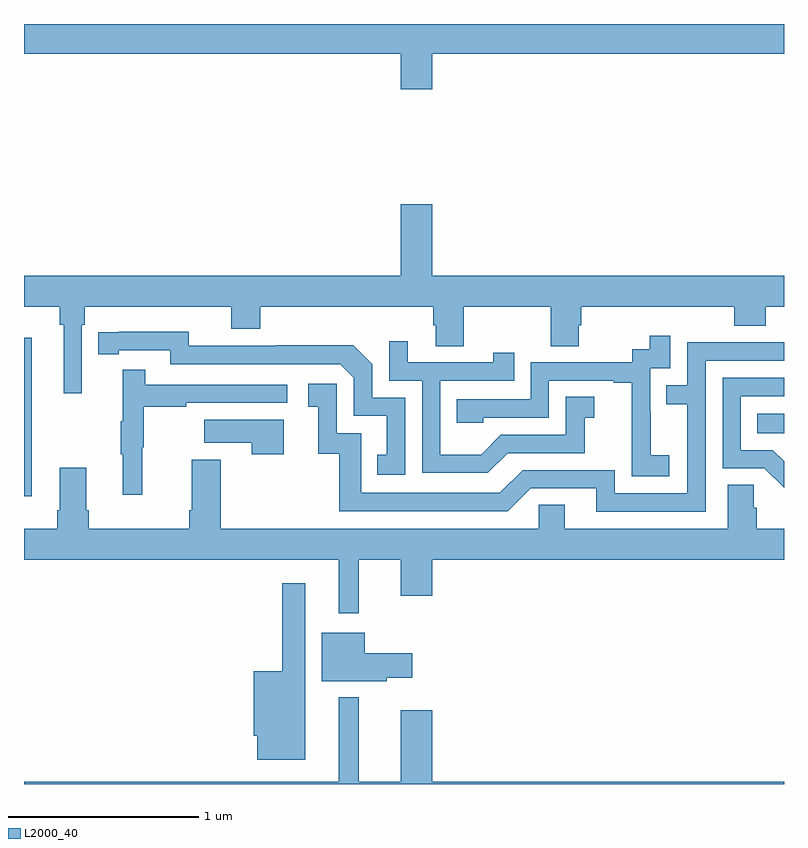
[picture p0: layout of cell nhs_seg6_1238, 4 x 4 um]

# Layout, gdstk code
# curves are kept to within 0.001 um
import gdstk
lib = gdstk.Library(unit=1e-6, precision=1e-09)
def R(c, l, rs):  # rectangles x0, y0, x1, y1
    for r in rs: c.add(gdstk.rectangle(r[:2], r[2:], *l))
def P(c, l, *ps):  # polygons
    for p in ps: c.add(gdstk.Polygon(p, *l))
L2000_40 = (2000, 40)

nhs_seg6_1238 = lib.new_cell('nhs_seg6_1238')
R(nhs_seg6_1238, L2000_40, [(187,937.014,187.042,937.849), (190.858,937.346,191,937.45)])
P(nhs_seg6_1238, L2000_40, [(189.148,939.344),(191,939.344),(191,939.5),(187,939.5),(187,939.344),(188.984,939.344),(188.984,939.156),(189.148,939.156)],
  [(187,938.012),(187.189,938.012),(187.189,937.916),(187.208,937.916),(187.208,937.557),(187.305,937.557),(187.305,937.916),(187.319,937.916),(187.319,938.012),(188.09,938.012),(188.09,937.895),(188.243,937.895),(188.243,938.012),(189.155,938.012),(189.155,937.914),(189.167,937.914),(189.167,937.804),(189.315,937.804),(189.315,938.012),(189.772,938.012),(189.772,937.804),(189.919,937.804),(189.919,937.914),(189.932,937.914),(189.932,938.012),(190.739,938.012),(190.739,937.913),(190.904,937.913),(190.904,938.012),(191,938.012),(191,938.176),(189.148,938.176),(189.148,938.551),(188.984,938.551),(188.984,938.176),(187,938.176)],
  [(189.006,937.533),(188.832,937.533),(188.832,937.71),(188.734,937.808),(188.326,937.808),(188.326,937.806),(187.866,937.806),(187.866,937.879),(187.39,937.878),(187.39,937.762),(187.498,937.762),(187.498,937.782),(187.77,937.782),(187.77,937.71),(188.664,937.71),(188.736,937.638),(188.736,937.437),(188.909,937.437),(188.909,937.233),(188.86,937.233),(188.86,937.128),(189.006,937.128)],
  [(190.396,937.231),(190.298,937.231),(190.298,937.46),(190.296,937.46),(190.296,937.689),(190.401,937.689),(190.401,937.858),(190.293,937.858),(190.293,937.788),(190.2,937.788),(190.2,937.719),(189.666,937.719),(189.666,937.524),(189.277,937.524),(189.277,937.401),(189.417,937.401),(189.417,937.428),(189.762,937.428),(189.762,937.623),(190.103,937.623),(190.103,937.611),(190.199,937.611),(190.199,937.327),(190.198,937.327),(190.198,937.121),(190.396,937.121)],
  [(189.547,937.242),(189.951,937.242),(189.951,937.427),(190,937.427),(190,937.537),(189.852,937.537),(189.852,937.338),(189.51,937.338),(189.406,937.234),(189.192,937.234),(189.192,937.623),(189.581,937.623),(189.581,937.771),(189.47,937.771),(189.47,937.719),(189.019,937.719),(189.019,937.831),(188.922,937.831),(188.922,937.623),(189.096,937.623),(189.096,937.137),(189.442,937.137)],
  [(190.587,937.728),(191,937.728),(191,937.826),(190.987,937.826),(190.987,937.824),(190.491,937.824),(190.491,937.599),(190.381,937.599),(190.381,937.498),(190.491,937.498),(190.491,937.029),(190.11,937.029),(190.11,937.152),(189.624,937.152),(189.504,937.032),(188.775,937.032),(188.775,937.347),(188.646,937.347),(188.646,937.606),(188.496,937.606),(188.496,937.485),(188.549,937.485),(188.549,937.239),(188.659,937.239),(188.659,936.936),(189.546,936.936),(189.666,937.056),(190.013,937.056),(190.013,936.933),(190.587,936.933)],
  [(187.622,937.272),(187.63,937.272),(187.63,937.486),(187.853,937.486),(187.853,937.506),(188.386,937.506),(188.386,937.602),(187.637,937.602),(187.637,937.681),(187.52,937.681),(187.52,937.409),(187.509,937.409),(187.509,937.235),(187.52,937.235),(187.52,937.023),(187.622,937.023)],
  [(191,937.199),(190.942,937.257),(190.773,937.257),(190.773,937.542),(191,937.542),(191,937.638),(190.677,937.638),(190.677,937.161),(190.896,937.161),(191,937.058)],
  [(188.368,937.417),(187.949,937.417),(187.949,937.295),(188.198,937.295),(188.198,937.236),(188.368,937.236)],
  [(188.761,936.68),(188.984,936.68),(188.984,936.492),(189.148,936.492),(189.148,936.68),(191,936.68),(191,936.844),(190.856,936.844),(190.856,936.953),(190.842,936.953),(190.842,937.076),(190.703,937.076),(190.703,936.844),(189.847,936.844),(189.847,936.971),(189.708,936.971),(189.708,936.844),(188.036,936.844),(188.036,937.207),(187.883,937.207),(187.883,936.94),(187.871,936.94),(187.871,936.844),(187.34,936.844),(187.34,936.94),(187.327,936.94),(187.327,937.165),(187.187,937.165),(187.187,936.94),(187.175,936.94),(187.175,936.844),(187,936.844),(187,936.68),(188.657,936.68),(188.657,936.399),(188.761,936.399)],
  [(188.479,936.556),(188.358,936.556),(188.358,936.094),(188.21,936.094),(188.21,935.754),(188.228,935.754),(188.228,935.627),(188.479,935.627)],
  [(188.91,936.059),(189.043,936.059),(189.043,936.189),(188.794,936.189),(188.794,936.295),(188.567,936.295),(188.567,936.041),(188.91,936.041)],
  [(191,935.512),(189.148,935.512),(189.148,935.887),(188.984,935.887),(188.984,935.512),(188.761,935.512),(188.761,935.956),(188.657,935.956),(188.657,935.512),(187,935.512),(187,935.5),(191,935.5)])

lib.write_gds('nhs_seg6_1238.gds')
